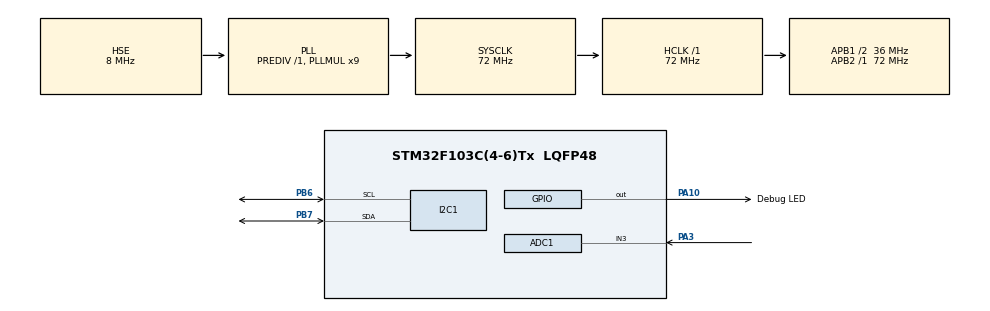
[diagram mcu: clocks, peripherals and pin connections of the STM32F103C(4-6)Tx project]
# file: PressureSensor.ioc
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ADC1.Channel-1\#ChannelInjectedConversion=ADC_CHANNEL_3
ADC1.Channel-5\#ChannelRegularConversion=ADC_CHANNEL_3
ADC1.ContinuousConvMode=ENABLE
ADC1.DataAlign=ADC_DATAALIGN_RIGHT
ADC1.DiscontinuousConvMode=DISABLE
ADC1.EnableRegularConversion=ENABLE
ADC1.InjNumberOfConversion=0
ADC1.InjectedOffset-1\#ChannelInjectedConversion=0
ADC1.NbrOfConversion=1
ADC1.NbrOfConversionFlag=1
ADC1.Rank-1\#ChannelInjectedConversion=1
ADC1.Rank-5\#ChannelRegularConversion=1
ADC1.SamplingTime-1\#ChannelInjectedConversion=ADC_SAMPLETIME_41CYCLES_5
ADC1.SamplingTime-5\#ChannelRegularConversion=ADC_SAMPLETIME_41CYCLES_5
ADC1.ScanConvMode=ADC_SCAN_DISABLE
ADC1.master=1
Dma.I2C1_RX.0.Direction=DMA_PERIPH_TO_MEMORY
Dma.I2C1_RX.0.Instance=DMA1_Channel7
Dma.I2C1_RX.0.MemDataAlignment=DMA_MDATAALIGN_BYTE
Dma.I2C1_RX.0.MemInc=DMA_MINC_ENABLE
Dma.I2C1_RX.0.Mode=DMA_NORMAL
Dma.I2C1_RX.0.PeriphDataAlignment=DMA_PDATAALIGN_BYTE
Dma.I2C1_RX.0.PeriphInc=DMA_PINC_DISABLE
Dma.I2C1_RX.0.Priority=DMA_PRIORITY_MEDIUM
Dma.I2C1_TX.1.Direction=DMA_MEMORY_TO_PERIPH
Dma.I2C1_TX.1.Instance=DMA1_Channel6
Dma.I2C1_TX.1.MemDataAlignment=DMA_MDATAALIGN_BYTE
Dma.I2C1_TX.1.MemInc=DMA_MINC_ENABLE
Dma.I2C1_TX.1.Mode=DMA_NORMAL
Dma.I2C1_TX.1.PeriphDataAlignment=DMA_PDATAALIGN_BYTE
Dma.I2C1_TX.1.PeriphInc=DMA_PINC_DISABLE
Dma.I2C1_TX.1.Priority=DMA_PRIORITY_MEDIUM
Dma.Request0=I2C1_RX
Dma.Request1=I2C1_TX
I2C1.I2C_Mode=I2C_Standard
I2C1.OwnAddress=15
IWDG.Prescaler=IWDG_PRESCALER_16
Mcu.Family=STM32F1
Mcu.Name=STM32F103C(4-6)Tx
Mcu.Package=LQFP48
NVIC.ADC1_2_IRQn=true\:0\:0\:false\:false\:true\:true
NVIC.DMA1_Channel6_IRQn=true\:0\:0\:false\:false\:true\:false
NVIC.DMA1_Channel7_IRQn=true\:0\:0\:false\:false\:true\:false
NVIC.I2C1_ER_IRQn=true\:0\:0\:false\:false\:true\:true
NVIC.I2C1_EV_IRQn=true\:0\:0\:false\:false\:true\:true
NVIC.PriorityGroup=NVIC_PRIORITYGROUP_4
PA10.GPIO_Label=Debug LED
PA10.Signal=GPIO_Output
PA13.Mode=Trace_Asynchronous_SW
PA13.Signal=SYS_JTMS-SWDIO
PA14.Mode=Trace_Asynchronous_SW
PA14.Signal=SYS_JTCK-SWCLK
PA3.Signal=ADCx_IN3
PB3.Mode=Trace_Asynchronous_SW
PB3.Signal=SYS_JTDO-TRACESWO
PB6.GPIO_PuPdOD=GPIO_NOPULL
PB6.Mode=I2C
PB6.Signal=I2C1_SCL
PB7.GPIO_PuPdOD=GPIO_NOPULL
PB7.Mode=I2C
PB7.Signal=I2C1_SDA
PD0-OSC_IN.Mode=HSE-External-Oscillator
PD0-OSC_IN.Signal=RCC_OSC_IN
PD1-OSC_OUT.Mode=HSE-External-Oscillator
PD1-OSC_OUT.Signal=RCC_OSC_OUT
ProjectManager.HeapSize=0x200
ProjectManager.StackSize=0x400
ProjectManager.TargetToolchain=TrueSTUDIO
RCC.ADCPresc=RCC_ADCPCLK2_DIV6
RCC.AHBFreq_Value=72000000
RCC.APB1CLKDivider=RCC_HCLK_DIV2
RCC.APB1Freq_Value=36000000
RCC.APB1TimFreq_Value=72000000
RCC.APB2Freq_Value=72000000
RCC.APB2TimFreq_Value=72000000
RCC.HCLKFreq_Value=72000000
RCC.PLLMUL=RCC_PLL_MUL9
RCC.PLLSourceVirtual=RCC_PLLSOURCE_HSE
RCC.SYSCLKFreq_VALUE=72000000
RCC.SYSCLKSource=RCC_SYSCLKSOURCE_PLLCLK
RCC.USBFreq_Value=72000000
SH.ADCx_IN3.0=ADC1_IN3,IN3
VP_IWDG_VS_IWDG.Mode=IWDG_Activate
board=PressureSensor

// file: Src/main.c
/* USER CODE BEGIN Header */
/**
  ******************************************************************************
  * @file           : main.c
  * @brief          : Main program body
  ******************************************************************************
  ** This notice applies to any and all portions of this file
  * that are not between comment pairs USER CODE BEGIN and
  * USER CODE END. Other portions of this file, whether
  * inserted by the user or by software development tools
  * are owned by their respective copyright owners.
  *
  * COPYRIGHT(c) 2019 STMicroelectronics
  *
  * Redistribution and use in source and binary forms, with or without modification,
  * are permitted provided that the following conditions are met:
  *   1. Redistributions of source code must retain the above copyright notice,
  *      this list of conditions and the following disclaimer.
  *   2. Redistributions in binary form must reproduce the above copyright notice,
  *      this list of conditions and the following disclaimer in the documentation
  *      and/or other materials provided with the distribution.
  *   3. Neither the name of STMicroelectronics nor the names of its contributors
  *      may be used to endorse or promote products derived from this software
  *      without specific prior written permission.
  *
  * THIS SOFTWARE IS PROVIDED BY THE COPYRIGHT HOLDERS AND CONTRIBUTORS "AS IS"
  * AND ANY EXPRESS OR IMPLIED WARRANTIES, INCLUDING, BUT NOT LIMITED TO, THE
  * IMPLIED WARRANTIES OF MERCHANTABILITY AND FITNESS FOR A PARTICULAR PURPOSE ARE
  * DISCLAIMED. IN NO EVENT SHALL THE COPYRIGHT HOLDER OR CONTRIBUTORS BE LIABLE
  * FOR ANY DIRECT, INDIRECT, INCIDENTAL, SPECIAL, EXEMPLARY, OR CONSEQUENTIAL
  * DAMAGES (INCLUDING, BUT NOT LIMITED TO, PROCUREMENT OF SUBSTITUTE GOODS OR
  * SERVICES; LOSS OF USE, DATA, OR PROFITS; OR BUSINESS INTERRUPTION) HOWEVER
  * CAUSED AND ON ANY THEORY OF LIABILITY, WHETHER IN CONTRACT, STRICT LIABILITY,
  * OR TORT (INCLUDING NEGLIGENCE OR OTHERWISE) ARISING IN ANY WAY OUT OF THE USE
  * OF THIS SOFTWARE, EVEN IF ADVISED OF THE POSSIBILITY OF SUCH DAMAGE.
  *
  ******************************************************************************
  */
/* USER CODE END Header */

#include "main.h"
#include "adc.h"
#include "dma.h"
#include "i2c.h"
#include "iwdg.h"
#include "gpio.h"

/* USER CODE BEGIN Includes */
#include "user.h"
#include <string.h>
/* USER CODE END Includes */

/* USER CODE BEGIN PV */
/* Private variables ---------------------------------------------------------*/

/* USER CODE END PV */

void SystemClock_Config(void);
/* USER CODE BEGIN PFP */
/* Private function prototypes -----------------------------------------------*/

/* USER CODE END PFP */

int main(void)
{

  /* MCU Configuration--------------------------------------------------------*/

  /* Reset of all peripherals, Initializes the Flash interface and the Systick. */
  HAL_Init();

  /* Configure the system clock */
  SystemClock_Config();

  /* Initialize all configured peripherals */
  MX_GPIO_Init();
  MX_DMA_Init();
  MX_ADC1_Init();
  MX_I2C1_Init();
  MX_IWDG_Init();
  /* USER CODE BEGIN 2 */
  uint32_t prevTick = 0;
  uint32_t adcPrevTick = 0;
  uint32_t i2cPrevTick = 0;

  HAL_ADC_Start_IT(&hadc1);
  /* USER CODE END 2 */

  /* Infinite loop */
  /* USER CODE BEGIN WHILE */
  while (1)
  {
	  if(HAL_GetTick() - prevTick >= LED_DELAY) {
		  HAL_GPIO_TogglePin(Debug_LED_GPIO_Port, Debug_LED_Pin);
		  prevTick = HAL_GetTick();
	  }

	  if(adcData.conversions == ADC_RESULTS_NUMBER+1 && HAL_GetTick() - adcPrevTick >= ADC_DELAY) {
		  clearArrayUint32(adcData.results, ADC_RESULTS_NUMBER);
		  adcData.conversions = 0;
		  adcPrevTick = HAL_GetTick();
		  HAL_ADC_Start_IT(&hadc1);
	  }

	  if(transitionDone) {
		  transitionDone = 0;
		  formData();
		  HAL_I2C_Slave_Transmit_IT(&hi2c1, dataToSend, DATA_TO_SEND_SIZE);
		  HAL_IWDG_Refresh(&hiwdg);
	  }
	  else {
		  if(HAL_GetTick() - i2cPrevTick >= TRANSITION_TIMEOUT && firsttime) {
			  HAL_I2C_Init(&hi2c1);
			  i2cPrevTick = HAL_GetTick();
			  formData();
			  HAL_I2C_Slave_Transmit_IT(&hi2c1, dataToSend, DATA_TO_SEND_SIZE);
		  }
	  }
    /* USER CODE END WHILE */

  }
}

void SystemClock_Config(void)
{
  RCC_OscInitTypeDef RCC_OscInitStruct = {0};
  RCC_ClkInitTypeDef RCC_ClkInitStruct = {0};
  RCC_PeriphCLKInitTypeDef PeriphClkInit = {0};

  /**Initializes the CPU, AHB and APB busses clocks
  */
  RCC_OscInitStruct.OscillatorType = RCC_OSCILLATORTYPE_LSI|RCC_OSCILLATORTYPE_HSE;
  RCC_OscInitStruct.HSEState = RCC_HSE_ON;
  RCC_OscInitStruct.HSEPredivValue = RCC_HSE_PREDIV_DIV1;
  RCC_OscInitStruct.HSIState = RCC_HSI_ON;
  RCC_OscInitStruct.LSIState = RCC_LSI_ON;
  RCC_OscInitStruct.PLL.PLLState = RCC_PLL_ON;
  RCC_OscInitStruct.PLL.PLLSource = RCC_PLLSOURCE_HSE;
  RCC_OscInitStruct.PLL.PLLMUL = RCC_PLL_MUL9;
  if (HAL_RCC_OscConfig(&RCC_OscInitStruct) != HAL_OK)
  {
    Error_Handler();
  }
  /**Initializes the CPU, AHB and APB busses clocks
  */
  RCC_ClkInitStruct.ClockType = RCC_CLOCKTYPE_HCLK|RCC_CLOCKTYPE_SYSCLK
                              |RCC_CLOCKTYPE_PCLK1|RCC_CLOCKTYPE_PCLK2;
  RCC_ClkInitStruct.SYSCLKSource = RCC_SYSCLKSOURCE_PLLCLK;
  RCC_ClkInitStruct.AHBCLKDivider = RCC_SYSCLK_DIV1;
  RCC_ClkInitStruct.APB1CLKDivider = RCC_HCLK_DIV2;
  RCC_ClkInitStruct.APB2CLKDivider = RCC_HCLK_DIV1;

  if (HAL_RCC_ClockConfig(&RCC_ClkInitStruct, FLASH_LATENCY_2) != HAL_OK)
  {
    Error_Handler();
  }
  PeriphClkInit.PeriphClockSelection = RCC_PERIPHCLK_ADC;
  PeriphClkInit.AdcClockSelection = RCC_ADCPCLK2_DIV6;
  if (HAL_RCCEx_PeriphCLKConfig(&PeriphClkInit) != HAL_OK)
  {
    Error_Handler();
  }
}

void Error_Handler(void)
{
  while(1)
  {
  }
}

/************************ (C) COPYRIGHT STMicroelectronics *****END OF FILE****/
